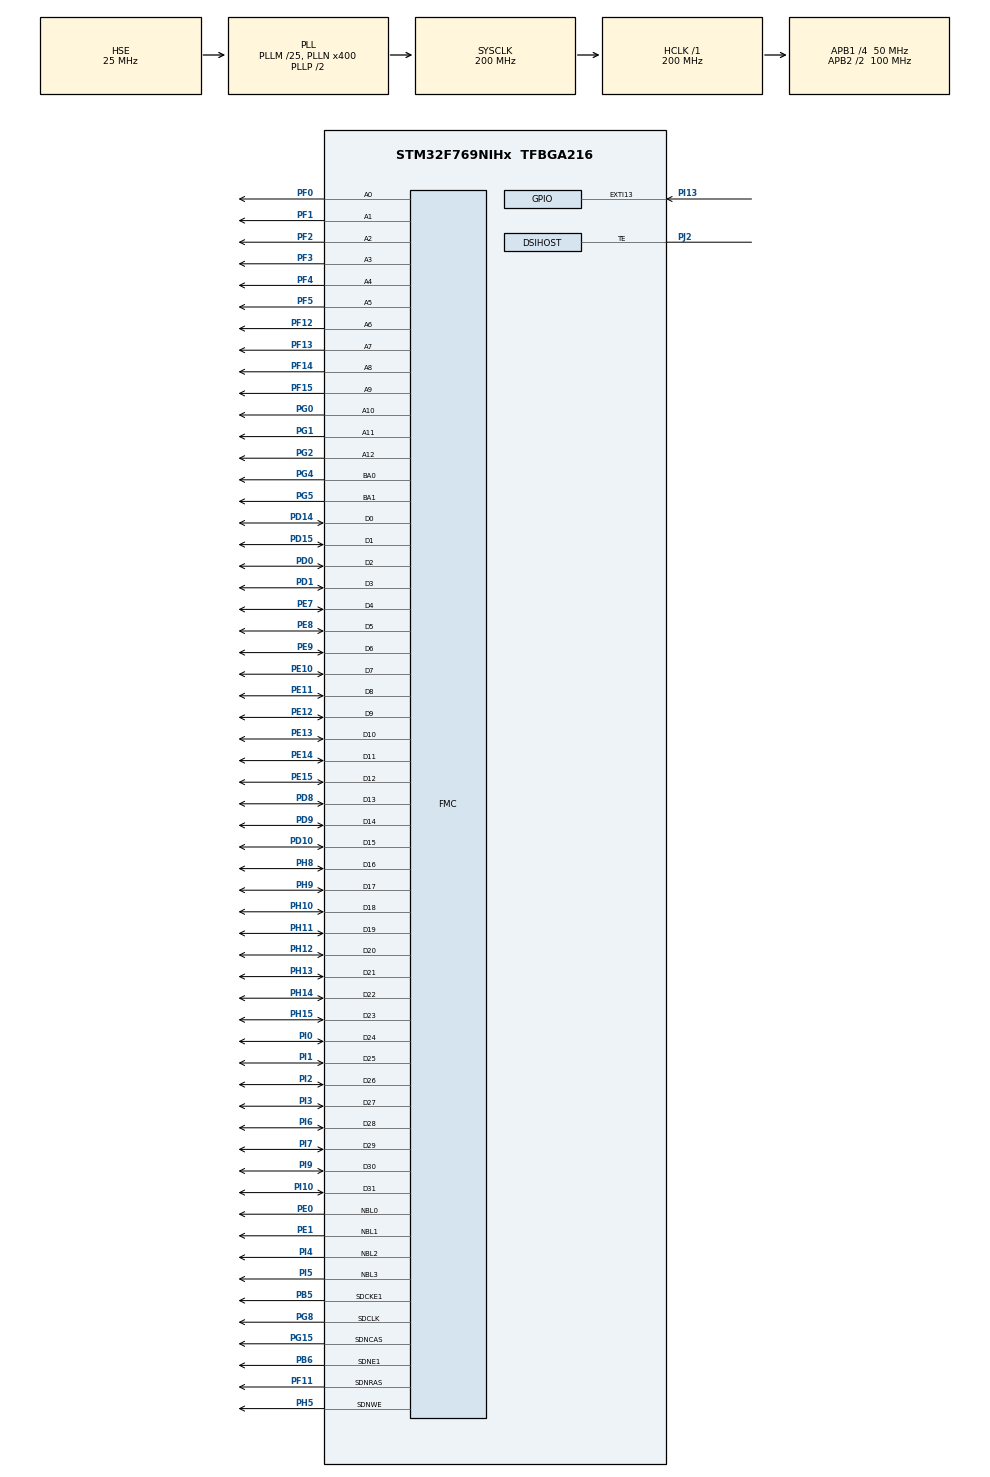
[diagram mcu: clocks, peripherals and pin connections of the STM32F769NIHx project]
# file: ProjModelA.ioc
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ADC1.Channel-1\#ChannelRegularConversion=ADC_CHANNEL_TEMPSENSOR
ADC1.ClockPrescaler=ADC_CLOCK_SYNC_PCLK_DIV8
ADC1.ContinuousConvMode=ENABLE
ADC1.EnableAnalogWatchDog=true
ADC1.NbrOfConversionFlag=1
ADC1.Rank-1\#ChannelRegularConversion=1
ADC1.SamplingTime-1\#ChannelRegularConversion=ADC_SAMPLETIME_56CYCLES
ADC1.WatchdogChannel=ADC_CHANNEL_TEMPSENSOR
ADC1.master=1
CORTEX_M7.CPU_DCache=Enabled
CORTEX_M7.CPU_ICache=Enabled
DSIHOST_CKN.Mode=DSIHost_Adapted_TE
DSIHOST_CKN.Signal=DSIHOST_CKN
DSIHOST_CKP.Mode=DSIHost_Adapted_TE
DSIHOST_CKP.Signal=DSIHOST_CKP
DSIHOST_D0N.Mode=DSIHost_Adapted_TE
DSIHOST_D0N.Signal=DSIHOST_D0N
DSIHOST_D0P.Mode=DSIHost_Adapted_TE
DSIHOST_D0P.Signal=DSIHOST_D0P
DSIHOST_D1N.Mode=DSIHost_Adapted_TE
DSIHOST_D1N.Signal=DSIHOST_D1N
DSIHOST_D1P.Mode=DSIHost_Adapted_TE
DSIHOST_D1P.Signal=DSIHOST_D1P
Mcu.Family=STM32F7
Mcu.Name=STM32F769NIHx
Mcu.Package=TFBGA216
NVIC.ADC_IRQn=true\:0\:0\:false\:false\:true\:true\:true
NVIC.PriorityGroup=NVIC_PRIORITYGROUP_4
NVIC.TIM6_DAC_IRQn=true\:0\:0\:false\:false\:true\:true\:true
NVIC.TIM7_IRQn=true\:0\:0\:false\:false\:true\:true\:true
PB5.Mode=SdramChipSelect2_1
PB5.Signal=FMC_SDCKE1
PB6.Mode=SdramChipSelect2_1
PB6.Signal=FMC_SDNE1
PD0.Signal=FMC_D2_DA2
PD1.Signal=FMC_D3_DA3
PD10.Signal=FMC_D15_DA15
PD14.Signal=FMC_D0_DA0
PD15.Signal=FMC_D1_DA1
PD8.Signal=FMC_D13_DA13
PD9.Signal=FMC_D14_DA14
PE0.Signal=FMC_NBL0
PE1.Signal=FMC_NBL1
PE10.Signal=FMC_D7_DA7
PE11.Signal=FMC_D8_DA8
PE12.Signal=FMC_D9_DA9
PE13.Signal=FMC_D10_DA10
PE14.Signal=FMC_D11_DA11
PE15.Signal=FMC_D12_DA12
PE7.Signal=FMC_D4_DA4
PE8.Signal=FMC_D5_DA5
PE9.Signal=FMC_D6_DA6
PF0.Signal=FMC_A0
PF1.Signal=FMC_A1
PF11.Signal=FMC_SDNRAS
PF12.Signal=FMC_A6
PF13.Signal=FMC_A7
PF14.Signal=FMC_A8
PF15.Signal=FMC_A9
PF2.Signal=FMC_A2
PF3.Signal=FMC_A3
PF4.Signal=FMC_A4
PF5.Signal=FMC_A5
PG0.Signal=FMC_A10
PG1.Signal=FMC_A11
PG15.Signal=FMC_SDNCAS
PG2.Signal=FMC_A12
PG4.Signal=FMC_A14_BA0
PG5.Signal=FMC_A15_BA1
PG8.Signal=FMC_SDCLK
PH0/OSC_IN.Mode=HSE-External-Oscillator
PH0/OSC_IN.Signal=RCC_OSC_IN
PH1/OSC_OUT.Mode=HSE-External-Oscillator
PH1/OSC_OUT.Signal=RCC_OSC_OUT
PH10.Signal=FMC_D18
PH11.Signal=FMC_D19
PH12.Signal=FMC_D20
PH13.Signal=FMC_D21
PH14.Signal=FMC_D22
PH15.Signal=FMC_D23
PH5.Signal=FMC_SDNWE
PH8.Signal=FMC_D16
PH9.Signal=FMC_D17
PI0.Signal=FMC_D24
PI1.Signal=FMC_D25
PI10.Signal=FMC_D31
PI13.Signal=GPXTI13
PI2.Signal=FMC_D26
PI3.Signal=FMC_D27
PI4.Signal=FMC_NBL2
PI5.Signal=FMC_NBL3
PI6.Signal=FMC_D28
PI7.Signal=FMC_D29
PI9.Signal=FMC_D30
PJ2.Mode=DSIHost_Adapted_TE
PJ2.Signal=DSIHOST_TE
ProjectManager.HeapSize=0x200
ProjectManager.StackSize=0x400
ProjectManager.TargetToolchain=STM32CubeIDE
RCC.AHBFreq_Value=200000000
RCC.APB1CLKDivider=RCC_HCLK_DIV4
RCC.APB1Freq_Value=50000000
RCC.APB1TimFreq_Value=100000000
RCC.APB2CLKDivider=RCC_HCLK_DIV2
RCC.APB2Freq_Value=100000000
RCC.APB2TimFreq_Value=200000000
RCC.CortexFreq_Value=200000000
RCC.HCLKFreq_Value=200000000
RCC.HSE_VALUE=25000000
RCC.HSI_VALUE=16000000
RCC.LSE_VALUE=32768
RCC.PLLI2SN=96
RCC.PLLM=25
RCC.PLLN=400
RCC.PLLR=6
RCC.PLLSourceVirtual=RCC_PLLSOURCE_HSE
RCC.SYSCLKFreq_VALUE=200000000
RCC.SYSCLKSource=RCC_SYSCLKSOURCE_PLLCLK
RCC.USBFreq_Value=200000000
RCC.VCOOutputFreq_Value=400000000
SH.FMC_A0.0=FMC_A0,13b-sda1
SH.FMC_A1.0=FMC_A1,13b-sda1
SH.FMC_A10.0=FMC_A10,13b-sda1
SH.FMC_A11.0=FMC_A11,13b-sda1
SH.FMC_A12.0=FMC_A12,13b-sda1
SH.FMC_A14_BA0.0=FMC_BA0,FourSdramBanks1
SH.FMC_A15_BA1.0=FMC_BA1,FourSdramBanks1
SH.FMC_A2.0=FMC_A2,13b-sda1
SH.FMC_A3.0=FMC_A3,13b-sda1
SH.FMC_A4.0=FMC_A4,13b-sda1
SH.FMC_A5.0=FMC_A5,13b-sda1
SH.FMC_A6.0=FMC_A6,13b-sda1
SH.FMC_A7.0=FMC_A7,13b-sda1
SH.FMC_A8.0=FMC_A8,13b-sda1
SH.FMC_A9.0=FMC_A9,13b-sda1
SH.FMC_D0_DA0.0=FMC_D0,sd-32b-d1
SH.FMC_D10_DA10.0=FMC_D10,sd-32b-d1
SH.FMC_D11_DA11.0=FMC_D11,sd-32b-d1
SH.FMC_D12_DA12.0=FMC_D12,sd-32b-d1
SH.FMC_D13_DA13.0=FMC_D13,sd-32b-d1
SH.FMC_D14_DA14.0=FMC_D14,sd-32b-d1
SH.FMC_D15_DA15.0=FMC_D15,sd-32b-d1
SH.FMC_D16.0=FMC_D16,sd-32b-d1
SH.FMC_D17.0=FMC_D17,sd-32b-d1
SH.FMC_D18.0=FMC_D18,sd-32b-d1
SH.FMC_D19.0=FMC_D19,sd-32b-d1
SH.FMC_D1_DA1.0=FMC_D1,sd-32b-d1
SH.FMC_D20.0=FMC_D20,sd-32b-d1
SH.FMC_D21.0=FMC_D21,sd-32b-d1
SH.FMC_D22.0=FMC_D22,sd-32b-d1
SH.FMC_D23.0=FMC_D23,sd-32b-d1
SH.FMC_D24.0=FMC_D24,sd-32b-d1
SH.FMC_D25.0=FMC_D25,sd-32b-d1
SH.FMC_D26.0=FMC_D26,sd-32b-d1
SH.FMC_D27.0=FMC_D27,sd-32b-d1
SH.FMC_D28.0=FMC_D28,sd-32b-d1
SH.FMC_D29.0=FMC_D29,sd-32b-d1
SH.FMC_D2_DA2.0=FMC_D2,sd-32b-d1
SH.FMC_D30.0=FMC_D30,sd-32b-d1
SH.FMC_D31.0=FMC_D31,sd-32b-d1
SH.FMC_D3_DA3.0=FMC_D3,sd-32b-d1
SH.FMC_D4_DA4.0=FMC_D4,sd-32b-d1
SH.FMC_D5_DA5.0=FMC_D5,sd-32b-d1
SH.FMC_D6_DA6.0=FMC_D6,sd-32b-d1
SH.FMC_D7_DA7.0=FMC_D7,sd-32b-d1
SH.FMC_D8_DA8.0=FMC_D8,sd-32b-d1
SH.FMC_D9_DA9.0=FMC_D9,sd-32b-d1
SH.FMC_NBL0.0=FMC_NBL0,Sd4ByteEnable1
SH.FMC_NBL1.0=FMC_NBL1,Sd4ByteEnable1
SH.FMC_NBL2.0=FMC_NBL2,Sd4ByteEnable1
SH.FMC_NBL3.0=FMC_NBL3,Sd4ByteEnable1
SH.FMC_SDCLK.0=FMC_SDCLK,13b-sda1
SH.FMC_SDNCAS.0=FMC_SDNCAS,13b-sda1
SH.FMC_SDNRAS.0=FMC_SDNRAS,13b-sda1
SH.FMC_SDNWE.0=FMC_SDNWE,13b-sda1
TIM6.Period=9999
TIM6.Prescaler=19999
TIM7.AutoReloadPreload=TIM_AUTORELOAD_PRELOAD_ENABLE
TIM7.Period=9999
TIM7.Prescaler=9999
TIM7.TIM_MasterOutputTrigger=TIM_TRGO_RESET
VP_ADC1_TempSens_Input.Mode=IN-TempSens
VP_DMA2D_VS_DMA2D.Mode=DMA2D_Activate
VP_LTDC_DSIMode.Mode=RGB888
VP_TIM6_VS_ClockSourceINT.Mode=Enable_Timer
VP_TIM7_VS_ClockSourceINT.Mode=Enable_Timer
board=STM32F769I-DISC1

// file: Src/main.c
/* USER CODE BEGIN Header */
/**
  ******************************************************************************
  * @file           : main.c
  * @brief          : Main program body
  ******************************************************************************
  * @attention
  *
  * <h2><center>&copy; Copyright (c) 2019 STMicroelectronics.
  * All rights reserved.</center></h2>
  *
  * This software component is licensed by ST under BSD 3-Clause license,
  * the "License"; You may not use this file except in compliance with the
  * License. You may obtain a copy of the License at:
  *                        opensource.org/licenses/BSD-3-Clause
  *
  ******************************************************************************
  */
/* USER CODE END Header */

#include "main.h"

/* USER CODE BEGIN Includes */
#include <stdio.h>
#include "stm32f769i_discovery.h"
#include "stm32f769i_discovery_lcd.h"
#include "stm32f769i_discovery_ts.h"
#include "stdbool.h"
/* USER CODE END Includes */

/* USER CODE BEGIN PD */
#define MAX_CONVERTED_VALUE   4095    // Max converted value
#define AMBIENT_TEMP            25    // Ambient Temperature
#define VSENS_AT_AMBIENT_TEMP  760    // VSENSE value (mv) at ambient temperature
#define AVG_SLOPE               25    // Average_Solpe multiply by 10
#define VREF				3300
/* USER CODE END PD */

ADC_HandleTypeDef hadc1;

DMA2D_HandleTypeDef hdma2d;

DSI_HandleTypeDef hdsi;

LTDC_HandleTypeDef hltdc;

TIM_HandleTypeDef htim6;
TIM_HandleTypeDef htim7;

SDRAM_HandleTypeDef hsdram1;

/* USER CODE BEGIN PV */
TS_StateTypeDef TS_State;
uint16_t maxLCD = 0;
volatile int flagT6 = 0;
volatile int flagT7 = 0;
volatile int counterT6 = 0;
volatile int counterT7 = 0;
volatile long int JTemp = 0; //Internal Temperature converted
volatile uint32_t ConvertedValue; //Value to convert internal temperature
char string[100];
/* USER CODE END PV */

void SystemClock_Config(void);
static void MX_GPIO_Init(void);
static void MX_ADC1_Init(void);
static void MX_DMA2D_Init(void);
static void MX_DSIHOST_DSI_Init(void);
static void MX_FMC_Init(void);
static void MX_LTDC_Init(void);
static void MX_TIM6_Init(void);
static void MX_TIM7_Init(void);
/* USER CODE BEGIN PFP */
static void LCD_Config();
/* USER CODE END PFP */

/* USER CODE BEGIN 0 */

void HAL_ADC_ConvCpltCallback(ADC_HandleTypeDef* adcHandle)
{
	if(adcHandle == &hadc1)
		ConvertedValue = HAL_ADC_GetValue(&hadc1);

	}

void HAL_TIM_PeriodElapsedCallback (TIM_HandleTypeDef *htim)
{
	if(htim->Instance == TIM6)
	{
		counterT6++;
		flagT6 = 1;
	}

	if(htim->Instance == TIM7)
	{
		counterT7++;
		flagT7 = 1;
	}
}
void gameboard()
{
	  for(int i = 0; i<=8; i++){
		  BSP_LCD_DrawVLine(BSP_LCD_GetXSize()/40 + (BSP_LCD_GetXSize()/16)*i, BSP_LCD_GetYSize()/10, 400);
	  }

	  for(int j = 0; j<=8; j++){
		  BSP_LCD_DrawHLine(BSP_LCD_GetXSize()/40, BSP_LCD_GetYSize()/10 + (BSP_LCD_GetYSize()/9.6)*j, 400);
	  }
}

/* USER CODE END 0 */

int main(void)
{
  /* USER CODE BEGIN 1 */
	TS_StateTypeDef TS_State;
		char string[20];
  /* USER CODE END 1 */

  /* Enable I-Cache---------------------------------------------------------*/
  SCB_EnableICache();

  /* Enable D-Cache---------------------------------------------------------*/
  SCB_EnableDCache();

  /* MCU Configuration--------------------------------------------------------*/

  /* Reset of all peripherals, Initializes the Flash interface and the Systick. */
  HAL_Init();

  /* Configure the system clock */
  SystemClock_Config();

  /* Initialize all configured peripherals */
  MX_GPIO_Init();
  MX_ADC1_Init();
  MX_DMA2D_Init();
  MX_DSIHOST_DSI_Init();
  MX_FMC_Init();
  MX_LTDC_Init();
  MX_TIM6_Init();
  MX_TIM7_Init();
  /* USER CODE BEGIN 2 */
  //initialization of the buttom
    BSP_PB_Init(BUTTON_WAKEUP, BUTTON_MODE_GPIO);
    //initialization of the LED's
    BSP_LED_Init(LED_GREEN);
    BSP_LED_Init(LED_RED);
    //Configuration of the touchScreen
    BSP_TS_Init(BSP_LCD_GetXSize(),BSP_LCD_GetYSize());
    BSP_TS_ITConfig();
    //Configuration of the LCD
    LCD_Config();
    //confugurations of the interrupt with adc1 for temperature data collection
    HAL_ADC_Start_IT(&hadc1);
    //configurations of the interrupt with timer 6 for total played time
    HAL_TIM_Base_Start_IT(&htim6);
    //configurations of the interrupt with timer 7 for temperature display
    HAL_TIM_Base_Start_IT(&htim7);
    //Initialization of the board
    gameboard();
  /* USER CODE END 2 */

  /* Infinite loop */
  /* USER CODE BEGIN WHILE */
    int init_tick_led1= HAL_GetTick();
    int init_tick_led2= HAL_GetTick();

    while (1)
    {
    		//---------------------------------LED----------------------------------------------------

	  	  //LED blinks after 0.5 seconds
	  	  if(HAL_GetTick() >= init_tick_led1 + 500)
	  	  {
	  		  init_tick_led1 = HAL_GetTick();
	  		  BSP_LED_Toggle(LED1);
	  	  }

	  	  //LED blinks after 1 second (1000 ms)
	  	  if(HAL_GetTick() >= init_tick_led2 + 1000)
	  	  {
	  		  init_tick_led2 = HAL_GetTick();
	  		  BSP_LED_Toggle(LED2);
	  	  }
	  	//---------------------------------TEMPERATURA-------------------------------------------------

	  	    	/*when  flagT7 is detected, it is set to 0 (so that the cicle restarts) convertedvalue gets the data
	  	    	 * from the interruptadc1,then after converted the same way we did inthe class, the right value of the temperature is stored
	  	    	 * in the variable JTEMP and then is displayed at the LCD upper rigth conner*/

	  	    	if(flagT7)
	  	    	{
	  	    		flagT7 = 0;
	  	    		ConvertedValue = HAL_ADC_GetValue(&hadc1);
	  	    		JTemp = ((((ConvertedValue * VREF) / MAX_CONVERTED_VALUE) - VSENS_AT_AMBIENT_TEMP) * 10 / AVG_SLOPE) + AMBIENT_TEMP;
	  	    		//Show temperature in celsius
	  	    		sprintf(string, "Temp: %ld C", JTemp);
	  	    		BSP_LCD_SetFont(&Font12);
	  	    		BSP_LCD_DisplayStringAt(0, BSP_LCD_GetYSize()/2 - 230, (uint8_t *)string, RIGHT_MODE);
	  	    		BSP_LCD_SetTextColor(LCD_COLOR_WHITE);
	  	    	}

	  	// -----------------------------------tempo total-------------------------------------------------

	  		  /*when  flagT6 is detected, it is set to 0 (so that the cicle restarts) and the value of the time
	  		  *is printed to the string and then is displayed at the LCD upper rigth conner*/
    	if(flagT6)
    	{
    		flagT6 = 0;
    		//Show time in seconds
    		sprintf(string, "Time: %d s", counterT6);
    		BSP_LCD_SetFont(&Font12);
    		BSP_LCD_DisplayStringAt(0, BSP_LCD_GetYSize()/2 - 215, (uint8_t *)string, RIGHT_MODE);
    		BSP_LCD_SetTextColor(LCD_COLOR_WHITE);
    	}

    		//-------------------------------TOUCHSCREEN-------------------------------------------

    		/*when flag is detected, if the TS_State.touchDetected is diferrent than 0, it means that
    		 * the touchscreen is being used and it prints the coordenates of theat point, given by
    		 * TS_State.touchX[0] and TS_State.touchY[0] */
    	BSP_TS_GetState(&TS_State);

	  	  if(TS_State.touchDetected){
	  		  sprintf(string, "X = %d", (int)TS_State.touchX[0]);
	  		  BSP_LCD_DisplayStringAtLine(4, (uint8_t*)string);
	  		  sprintf(string, "Y = %d", (int)TS_State.touchY[0]);
	  		  BSP_LCD_DisplayStringAtLine(5, (uint8_t*)string);
	  	  }

    /* USER CODE END WHILE */

  }
}

void SystemClock_Config(void)
{
  RCC_OscInitTypeDef RCC_OscInitStruct = {0};
  RCC_ClkInitTypeDef RCC_ClkInitStruct = {0};
  RCC_PeriphCLKInitTypeDef PeriphClkInitStruct = {0};

  /** Configure the main internal regulator output voltage
  */
  __HAL_RCC_PWR_CLK_ENABLE();
  __HAL_PWR_VOLTAGESCALING_CONFIG(PWR_REGULATOR_VOLTAGE_SCALE1);
  /** Initializes the CPU, AHB and APB busses clocks
  */
  RCC_OscInitStruct.OscillatorType = RCC_OSCILLATORTYPE_HSE;
  RCC_OscInitStruct.HSEState = RCC_HSE_ON;
  RCC_OscInitStruct.PLL.PLLState = RCC_PLL_ON;
  RCC_OscInitStruct.PLL.PLLSource = RCC_PLLSOURCE_HSE;
  RCC_OscInitStruct.PLL.PLLM = 25;
  RCC_OscInitStruct.PLL.PLLN = 400;
  RCC_OscInitStruct.PLL.PLLP = RCC_PLLP_DIV2;
  RCC_OscInitStruct.PLL.PLLQ = 2;
  if (HAL_RCC_OscConfig(&RCC_OscInitStruct) != HAL_OK)
  {
    Error_Handler();
  }
  /** Activate the Over-Drive mode
  */
  if (HAL_PWREx_EnableOverDrive() != HAL_OK)
  {
    Error_Handler();
  }
  /** Initializes the CPU, AHB and APB busses clocks
  */
  RCC_ClkInitStruct.ClockType = RCC_CLOCKTYPE_HCLK|RCC_CLOCKTYPE_SYSCLK
                              |RCC_CLOCKTYPE_PCLK1|RCC_CLOCKTYPE_PCLK2;
  RCC_ClkInitStruct.SYSCLKSource = RCC_SYSCLKSOURCE_PLLCLK;
  RCC_ClkInitStruct.AHBCLKDivider = RCC_SYSCLK_DIV1;
  RCC_ClkInitStruct.APB1CLKDivider = RCC_HCLK_DIV4;
  RCC_ClkInitStruct.APB2CLKDivider = RCC_HCLK_DIV2;

  if (HAL_RCC_ClockConfig(&RCC_ClkInitStruct, FLASH_LATENCY_6) != HAL_OK)
  {
    Error_Handler();
  }
  PeriphClkInitStruct.PeriphClockSelection = RCC_PERIPHCLK_LTDC;
  PeriphClkInitStruct.PLLSAI.PLLSAIN = 192;
  PeriphClkInitStruct.PLLSAI.PLLSAIR = 2;
  PeriphClkInitStruct.PLLSAI.PLLSAIQ = 2;
  PeriphClkInitStruct.PLLSAI.PLLSAIP = RCC_PLLSAIP_DIV2;
  PeriphClkInitStruct.PLLSAIDivQ = 1;
  PeriphClkInitStruct.PLLSAIDivR = RCC_PLLSAIDIVR_2;
  if (HAL_RCCEx_PeriphCLKConfig(&PeriphClkInitStruct) != HAL_OK)
  {
    Error_Handler();
  }
}

static void MX_ADC1_Init(void)
{

  ADC_AnalogWDGConfTypeDef AnalogWDGConfig = {0};
  ADC_ChannelConfTypeDef sConfig = {0};

  /** Configure the global features of the ADC (Clock, Resolution, Data Alignment and number of conversion)
  */
  hadc1.Instance = ADC1;
  hadc1.Init.ClockPrescaler = ADC_CLOCK_SYNC_PCLK_DIV8;
  hadc1.Init.Resolution = ADC_RESOLUTION_12B;
  hadc1.Init.ScanConvMode = DISABLE;
  hadc1.Init.ContinuousConvMode = ENABLE;
  hadc1.Init.DiscontinuousConvMode = DISABLE;
  hadc1.Init.ExternalTrigConvEdge = ADC_EXTERNALTRIGCONVEDGE_NONE;
  hadc1.Init.ExternalTrigConv = ADC_SOFTWARE_START;
  hadc1.Init.DataAlign = ADC_DATAALIGN_RIGHT;
  hadc1.Init.NbrOfConversion = 1;
  hadc1.Init.DMAContinuousRequests = DISABLE;
  hadc1.Init.EOCSelection = ADC_EOC_SINGLE_CONV;
  if (HAL_ADC_Init(&hadc1) != HAL_OK)
  {
    Error_Handler();
  }
  /** Configure the analog watchdog
  */
  AnalogWDGConfig.WatchdogMode = ADC_ANALOGWATCHDOG_SINGLE_REG;
  AnalogWDGConfig.HighThreshold = 0;
  AnalogWDGConfig.LowThreshold = 0;
  AnalogWDGConfig.Channel = ADC_CHANNEL_TEMPSENSOR;
  AnalogWDGConfig.ITMode = DISABLE;
  if (HAL_ADC_AnalogWDGConfig(&hadc1, &AnalogWDGConfig) != HAL_OK)
  {
    Error_Handler();
  }
  /** Configure for the selected ADC regular channel its corresponding rank in the sequencer and its sample time.
  */
  sConfig.Channel = ADC_CHANNEL_TEMPSENSOR;
  sConfig.Rank = ADC_REGULAR_RANK_1;
  sConfig.SamplingTime = ADC_SAMPLETIME_56CYCLES;
  if (HAL_ADC_ConfigChannel(&hadc1, &sConfig) != HAL_OK)
  {
    Error_Handler();
  }

}

static void MX_DMA2D_Init(void)
{

  hdma2d.Instance = DMA2D;
  hdma2d.Init.Mode = DMA2D_M2M;
  hdma2d.Init.ColorMode = DMA2D_OUTPUT_ARGB8888;
  hdma2d.Init.OutputOffset = 0;
  hdma2d.LayerCfg[1].InputOffset = 0;
  hdma2d.LayerCfg[1].InputColorMode = DMA2D_INPUT_ARGB8888;
  hdma2d.LayerCfg[1].AlphaMode = DMA2D_NO_MODIF_ALPHA;
  hdma2d.LayerCfg[1].InputAlpha = 0;
  hdma2d.LayerCfg[1].AlphaInverted = DMA2D_REGULAR_ALPHA;
  hdma2d.LayerCfg[1].RedBlueSwap = DMA2D_RB_REGULAR;
  if (HAL_DMA2D_Init(&hdma2d) != HAL_OK)
  {
    Error_Handler();
  }
  if (HAL_DMA2D_ConfigLayer(&hdma2d, 1) != HAL_OK)
  {
    Error_Handler();
  }

}

static void MX_DSIHOST_DSI_Init(void)
{

  DSI_PLLInitTypeDef PLLInit = {0};
  DSI_HOST_TimeoutTypeDef HostTimeouts = {0};
  DSI_PHY_TimerTypeDef PhyTimings = {0};
  DSI_LPCmdTypeDef LPCmd = {0};
  DSI_CmdCfgTypeDef CmdCfg = {0};

  hdsi.Instance = DSI;
  hdsi.Init.AutomaticClockLaneControl = DSI_AUTO_CLK_LANE_CTRL_DISABLE;
  hdsi.Init.TXEscapeCkdiv = 4;
  hdsi.Init.NumberOfLanes = DSI_ONE_DATA_LANE;
  PLLInit.PLLNDIV = 20;
  PLLInit.PLLIDF = DSI_PLL_IN_DIV1;
  PLLInit.PLLODF = DSI_PLL_OUT_DIV1;
  if (HAL_DSI_Init(&hdsi, &PLLInit) != HAL_OK)
  {
    Error_Handler();
  }
  HostTimeouts.TimeoutCkdiv = 1;
  HostTimeouts.HighSpeedTransmissionTimeout = 0;
  HostTimeouts.LowPowerReceptionTimeout = 0;
  HostTimeouts.HighSpeedReadTimeout = 0;
  HostTimeouts.LowPowerReadTimeout = 0;
  HostTimeouts.HighSpeedWriteTimeout = 0;
  HostTimeouts.HighSpeedWritePrespMode = DSI_HS_PM_DISABLE;
  HostTimeouts.LowPowerWriteTimeout = 0;
  HostTimeouts.BTATimeout = 0;
  if (HAL_DSI_ConfigHostTimeouts(&hdsi, &HostTimeouts) != HAL_OK)
  {
    Error_Handler();
  }
  PhyTimings.ClockLaneHS2LPTime = 28;
  PhyTimings.ClockLaneLP2HSTime = 33;
  PhyTimings.DataLaneHS2LPTime = 15;
  PhyTimings.DataLaneLP2HSTime = 25;
  PhyTimings.DataLaneMaxReadTime = 0;
  PhyTimings.StopWaitTime = 0;
  if (HAL_DSI_ConfigPhyTimer(&hdsi, &PhyTimings) != HAL_OK)
  {
    Error_Handler();
  }
  if (HAL_DSI_ConfigFlowControl(&hdsi, DSI_FLOW_CONTROL_BTA) != HAL_OK)
  {
    Error_Handler();
  }
  if (HAL_DSI_SetLowPowerRXFilter(&hdsi, 10000) != HAL_OK)
  {
    Error_Handler();
  }
  if (HAL_DSI_ConfigErrorMonitor(&hdsi, HAL_DSI_ERROR_NONE) != HAL_OK)
  {
    Error_Handler();
  }
  LPCmd.LPGenShortWriteNoP = DSI_LP_GSW0P_DISABLE;
  LPCmd.LPGenShortWriteOneP = DSI_LP_GSW1P_DISABLE;
  LPCmd.LPGenShortWriteTwoP = DSI_LP_GSW2P_DISABLE;
  LPCmd.LPGenShortReadNoP = DSI_LP_GSR0P_DISABLE;
  LPCmd.LPGenShortReadOneP = DSI_LP_GSR1P_DISABLE;
  LPCmd.LPGenShortReadTwoP = DSI_LP_GSR2P_DISABLE;
  LPCmd.LPGenLongWrite = DSI_LP_GLW_DISABLE;
  LPCmd.LPDcsShortWriteNoP = DSI_LP_DSW0P_DISABLE;
  LPCmd.LPDcsShortWriteOneP = DSI_LP_DSW1P_DISABLE;
  LPCmd.LPDcsShortReadNoP = DSI_LP_DSR0P_DISABLE;
  LPCmd.LPDcsLongWrite = DSI_LP_DLW_DISABLE;
  LPCmd.LPMaxReadPacket = DSI_LP_MRDP_DISABLE;
  LPCmd.AcknowledgeRequest = DSI_ACKNOWLEDGE_DISABLE;
  if (HAL_DSI_ConfigCommand(&hdsi, &LPCmd) != HAL_OK)
  {
    Error_Handler();
  }
  CmdCfg.VirtualChannelID = 0;
  CmdCfg.ColorCoding = DSI_RGB888;
  CmdCfg.CommandSize = 640;
  CmdCfg.TearingEffectSource = DSI_TE_EXTERNAL;
  CmdCfg.TearingEffectPolarity = DSI_TE_RISING_EDGE;
  CmdCfg.HSPolarity = DSI_HSYNC_ACTIVE_LOW;
  CmdCfg.VSPolarity = DSI_VSYNC_ACTIVE_LOW;
  CmdCfg.DEPolarity = DSI_DATA_ENABLE_ACTIVE_HIGH;
  CmdCfg.VSyncPol = DSI_VSYNC_FALLING;
  CmdCfg.AutomaticRefresh = DSI_AR_ENABLE;
  CmdCfg.TEAcknowledgeRequest = DSI_TE_ACKNOWLEDGE_DISABLE;
  if (HAL_DSI_ConfigAdaptedCommandMode(&hdsi, &CmdCfg) != HAL_OK)
  {
    Error_Handler();
  }
  if (HAL_DSI_SetGenericVCID(&hdsi, 0) != HAL_OK)
  {
    Error_Handler();
  }

}

static void MX_LTDC_Init(void)
{

  LTDC_LayerCfgTypeDef pLayerCfg = {0};
  LTDC_LayerCfgTypeDef pLayerCfg1 = {0};

  hltdc.Instance = LTDC;
  hltdc.Init.HSPolarity = LTDC_HSPOLARITY_AL;
  hltdc.Init.VSPolarity = LTDC_VSPOLARITY_AL;
  hltdc.Init.DEPolarity = LTDC_DEPOLARITY_AL;
  hltdc.Init.PCPolarity = LTDC_PCPOLARITY_IPC;
  hltdc.Init.HorizontalSync = 7;
  hltdc.Init.VerticalSync = 3;
  hltdc.Init.AccumulatedHBP = 14;
  hltdc.Init.AccumulatedVBP = 5;
  hltdc.Init.AccumulatedActiveW = 654;
  hltdc.Init.AccumulatedActiveH = 485;
  hltdc.Init.TotalWidth = 660;
  hltdc.Init.TotalHeigh = 487;
  hltdc.Init.Backcolor.Blue = 0;
  hltdc.Init.Backcolor.Green = 0;
  hltdc.Init.Backcolor.Red = 0;
  if (HAL_LTDC_Init(&hltdc) != HAL_OK)
  {
    Error_Handler();
  }
  pLayerCfg.WindowX0 = 0;
  pLayerCfg.WindowX1 = 0;
  pLayerCfg.WindowY0 = 0;
  pLayerCfg.WindowY1 = 0;
  pLayerCfg.PixelFormat = LTDC_PIXEL_FORMAT_ARGB8888;
  pLayerCfg.Alpha = 0;
  pLayerCfg.Alpha0 = 0;
  pLayerCfg.BlendingFactor1 = LTDC_BLENDING_FACTOR1_CA;
  pLayerCfg.BlendingFactor2 = LTDC_BLENDING_FACTOR2_CA;
  pLayerCfg.FBStartAdress = 0;
  pLayerCfg.ImageWidth = 0;
  pLayerCfg.ImageHeight = 0;
  pLayerCfg.Backcolor.Blue = 0;
  pLayerCfg.Backcolor.Green = 0;
  pLayerCfg.Backcolor.Red = 0;
  if (HAL_LTDC_ConfigLayer(&hltdc, &pLayerCfg, 0) != HAL_OK)
  {
    Error_Handler();
  }
  pLayerCfg1.WindowX0 = 0;
  pLayerCfg1.WindowX1 = 0;
  pLayerCfg1.WindowY0 = 0;
  pLayerCfg1.WindowY1 = 0;
  pLayerCfg1.PixelFormat = LTDC_PIXEL_FORMAT_ARGB8888;
  pLayerCfg1.Alpha = 0;
  pLayerCfg1.Alpha0 = 0;
  pLayerCfg1.BlendingFactor1 = LTDC_BLENDING_FACTOR1_CA;
  pLayerCfg1.BlendingFactor2 = LTDC_BLENDING_FACTOR2_CA;
  pLayerCfg1.FBStartAdress = 0;
  pLayerCfg1.ImageWidth = 0;
  pLayerCfg1.ImageHeight = 0;
  pLayerCfg1.Backcolor.Blue = 0;
  pLayerCfg1.Backcolor.Green = 0;
  pLayerCfg1.Backcolor.Red = 0;
  if (HAL_LTDC_ConfigLayer(&hltdc, &pLayerCfg1, 1) != HAL_OK)
  {
    Error_Handler();
  }

}

static void MX_TIM6_Init(void)
{

  TIM_MasterConfigTypeDef sMasterConfig = {0};

  htim6.Instance = TIM6;
  htim6.Init.Prescaler = 19999;
  htim6.Init.CounterMode = TIM_COUNTERMODE_UP;
  htim6.Init.Period = 9999;
  htim6.Init.AutoReloadPreload = TIM_AUTORELOAD_PRELOAD_DISABLE;
  if (HAL_TIM_Base_Init(&htim6) != HAL_OK)
  {
    Error_Handler();
  }
  sMasterConfig.MasterOutputTrigger = TIM_TRGO_RESET;
  sMasterConfig.MasterSlaveMode = TIM_MASTERSLAVEMODE_DISABLE;
  if (HAL_TIMEx_MasterConfigSynchronization(&htim6, &sMasterConfig) != HAL_OK)
  {
    Error_Handler();
  }

}

static void MX_TIM7_Init(void)
{

  TIM_MasterConfigTypeDef sMasterConfig = {0};

  htim7.Instance = TIM7;
  htim7.Init.Prescaler = 9999;
  htim7.Init.CounterMode = TIM_COUNTERMODE_UP;
  htim7.Init.Period = 9999;
  htim7.Init.AutoReloadPreload = TIM_AUTORELOAD_PRELOAD_ENABLE;
  if (HAL_TIM_Base_Init(&htim7) != HAL_OK)
  {
    Error_Handler();
  }
  sMasterConfig.MasterOutputTrigger = TIM_TRGO_RESET;
  sMasterConfig.MasterSlaveMode = TIM_MASTERSLAVEMODE_DISABLE;
  if (HAL_TIMEx_MasterConfigSynchronization(&htim7, &sMasterConfig) != HAL_OK)
  {
    Error_Handler();
  }

}

/* FMC initialization function */
static void MX_FMC_Init(void)
{

  FMC_SDRAM_TimingTypeDef SdramTiming = {0};

  /** Perform the SDRAM1 memory initialization sequence
  */
  hsdram1.Instance = FMC_SDRAM_DEVICE;
  /* hsdram1.Init */
  hsdram1.Init.SDBank = FMC_SDRAM_BANK2;
  hsdram1.Init.ColumnBitsNumber = FMC_SDRAM_COLUMN_BITS_NUM_8;
  hsdram1.Init.RowBitsNumber = FMC_SDRAM_ROW_BITS_NUM_13;
  hsdram1.Init.MemoryDataWidth = FMC_SDRAM_MEM_BUS_WIDTH_32;
  hsdram1.Init.InternalBankNumber = FMC_SDRAM_INTERN_BANKS_NUM_4;
  hsdram1.Init.CASLatency = FMC_SDRAM_CAS_LATENCY_1;
  hsdram1.Init.WriteProtection = FMC_SDRAM_WRITE_PROTECTION_DISABLE;
  hsdram1.Init.SDClockPeriod = FMC_SDRAM_CLOCK_DISABLE;
  hsdram1.Init.ReadBurst = FMC_SDRAM_RBURST_DISABLE;
  hsdram1.Init.ReadPipeDelay = FMC_SDRAM_RPIPE_DELAY_0;
  /* SdramTiming */
  SdramTiming.LoadToActiveDelay = 16;
  SdramTiming.ExitSelfRefreshDelay = 16;
  SdramTiming.SelfRefreshTime = 16;
  SdramTiming.RowCycleDelay = 16;
  SdramTiming.WriteRecoveryTime = 16;
  SdramTiming.RPDelay = 16;
  SdramTiming.RCDDelay = 16;

  if (HAL_SDRAM_Init(&hsdram1, &SdramTiming) != HAL_OK)
  {
    Error_Handler( );
  }

}

static void MX_GPIO_Init(void)
{
  GPIO_InitTypeDef GPIO_InitStruct = {0};

  /* GPIO Ports Clock Enable */
  __HAL_RCC_GPIOE_CLK_ENABLE();
  __HAL_RCC_GPIOB_CLK_ENABLE();
  __HAL_RCC_GPIOG_CLK_ENABLE();
  __HAL_RCC_GPIOD_CLK_ENABLE();
  __HAL_RCC_GPIOI_CLK_ENABLE();
  __HAL_RCC_GPIOF_CLK_ENABLE();
  __HAL_RCC_GPIOH_CLK_ENABLE();
  __HAL_RCC_GPIOJ_CLK_ENABLE();

  /*Configure GPIO pin : PI13 */
  GPIO_InitStruct.Pin = GPIO_PIN_13;
  GPIO_InitStruct.Mode = GPIO_MODE_IT_RISING;
  GPIO_InitStruct.Pull = GPIO_NOPULL;
  HAL_GPIO_Init(GPIOI, &GPIO_InitStruct);

}

/* USER CODE BEGIN 4 */

void HAL_GPIO_EXTI_Callback(uint16_t GPIO_Pin)
{
	TS_StateTypeDef TS_State;
	char string[10];

	if(GPIO_Pin == GPIO_PIN_13)
	{
		BSP_TS_GetState(&TS_State);
		BSP_LED_On(LED_RED);
		BSP_LCD_SetTextColor(LCD_COLOR_BLUE);
		sprintf(string, "X = %d",(int)TS_State.touchX[0]);
		BSP_LCD_DisplayStringAt(0,4,(uint8_t*)string,0x03);
		sprintf(string, "Y = %d",(int)TS_State.touchY[0]);
		BSP_LCD_DisplayStringAt(0,40,(uint8_t*)string,0x03);
		BSP_LCD_FillCircle(TS_State.touchX[0],TS_State.touchY[0],5);
	}
}

static void LCD_Config(void)
{
  uint32_t  lcd_status = LCD_OK;

  /* Initialize the LCD */
  lcd_status = BSP_LCD_Init();
  while(lcd_status != LCD_OK);

  BSP_LCD_LayerDefaultInit(0, LCD_FB_START_ADDRESS);

  /* Clear the LCD */
  BSP_LCD_Clear(LCD_COLOR_WHITE);

  /* Set LCD Example description */
  BSP_LCD_SetTextColor(LCD_COLOR_BLACK);
  BSP_LCD_SetFont(&Font12);
  BSP_LCD_DisplayStringAt(0, BSP_LCD_GetYSize()- 20, (uint8_t *)"Copyright (c) Oak Tree Company", CENTER_MODE);
  //STE THE COLOR OF THE
  BSP_LCD_SetTextColor(LCD_COLOR_LIGHTRED);
  BSP_LCD_FillRect(0, 0, BSP_LCD_GetXSize(), 45);
  BSP_LCD_SetTextColor(LCD_COLOR_WHITE);
  BSP_LCD_SetBackColor(LCD_COLOR_LIGHTRED);
  BSP_LCD_SetFont(&Font24);
  BSP_LCD_DisplayStringAt(0, 12, (uint8_t *)"WELCOME TO REVERSI", CENTER_MODE);

  BSP_LCD_SetTextColor(LCD_COLOR_WHITE);
  BSP_LCD_SetBackColor(LCD_COLOR_LIGHTRED);
  BSP_LCD_SetFont(&Font24);

  BSP_LCD_SetTextColor(LCD_COLOR_WHITE);
  BSP_LCD_FillRect(BSP_LCD_GetXSize()/10, BSP_LCD_GetYSize()/10, 400, 400);
  BSP_LCD_SetTextColor(LCD_COLOR_BLACK);
}
/* USER CODE END 4 */

void Error_Handler(void)
{
}

/************************ (C) COPYRIGHT STMicroelectronics *****END OF FILE****/
